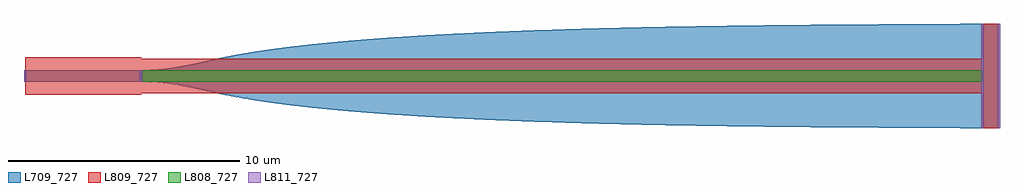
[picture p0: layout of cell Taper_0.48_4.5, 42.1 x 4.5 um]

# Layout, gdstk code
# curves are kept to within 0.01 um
from math import pi, radians
import gdstk
lib = gdstk.Library(unit=1e-6, precision=1e-09)
def R(c, l, rs):  # rectangles x0, y0, x1, y1
    for r in rs: c.add(gdstk.rectangle(r[:2], r[2:], *l))
def P(c, l, *ps):  # polygons
    for p in ps: c.add(gdstk.Polygon(p, *l))
L709_727 = (709, 727)
L808_727 = (808, 727)
L809_727 = (809, 727)
L811_727 = (811, 727)

wg_taper_3 = lib.new_cell('WG_Taper$3')
P(wg_taper_3, L709_727, [(-0.24,0),(-0.25,5),(0.25,5),(0.24,0)])
R(wg_taper_3, L809_727, [(-0.8,0,0.8,5)])
wg_taper_3.add(gdstk.FlexPath([(0,0.05),(0,-0.05)], 0.48, ends="flush", simple_path=True, layer=811, datatype=727))  # L811_727
wg_taper_3.add(gdstk.FlexPath([(0,4.95),(0,5.05)], 0.5, ends="flush", simple_path=True, layer=811, datatype=727))  # L811_727
wg_taper_3.add(gdstk.Label('Lumerical_INTERCONNECT_library=AIMPhotonics', (-0.3,0), layer=809, texttype=727))
wg_taper_3.add(gdstk.Label('Component=WG_taper', (0,0), layer=809, texttype=727))
wg_taper_3.add(gdstk.Label('Spice_param:wg_length=5.000u wg_width1=0.480u wg_width2=0.5', (0.3,0), layer=809, texttype=727))
wg_taper_3.add(gdstk.Label('opt2', (0,-0.05), layer=811, texttype=727))
wg_taper_3.add(gdstk.Label('opt1', (0,4.95), layer=811, texttype=727))

wg_taper_5 = lib.new_cell('WG_Taper$5')
R(wg_taper_5, L709_727, [(-2.25,0,2.25,0.7)])
R(wg_taper_5, L809_727, [(-2.25,0,2.25,0.7)])
wg_taper_5.add(gdstk.FlexPath([(0,0.05),(0,-0.05)], 4.5, ends="flush", simple_path=True, layer=811, datatype=727))  # L811_727
wg_taper_5.add(gdstk.FlexPath([(0,0.65),(0,0.75)], 4.5, ends="flush", simple_path=True, layer=811, datatype=727))  # L811_727
wg_taper_5.add(gdstk.Label('Lumerical_INTERCONNECT_library=AIMPhotonics', (-0.3,0), layer=809, texttype=727))
wg_taper_5.add(gdstk.Label('Component=WG_taper', (0,0), layer=809, texttype=727))
wg_taper_5.add(gdstk.Label('Spice_param:wg_length=0.700u wg_width1=4.500u wg_width2=4.5', (0.3,0), layer=809, texttype=727))
wg_taper_5.add(gdstk.Label('opt2', (0,-0.05), layer=811, texttype=727))
wg_taper_5.add(gdstk.Label('opt1', (0,0.65), layer=811, texttype=727))

waveguide_197 = lib.new_cell('Waveguide$197')
R(waveguide_197, L709_727, [(5,-0.25,41.3,0.25)])
R(waveguide_197, L808_727, [(5,-0.25,41.3,0.25)])
R(waveguide_197, L809_727, [(5,-0.75,41.3,0.75)])
waveguide_197.add(gdstk.FlexPath([(5.05,0),(4.95,0)], 0.5, ends="flush", simple_path=True, layer=811, datatype=727))  # L811_727
waveguide_197.add(gdstk.FlexPath([(41.25,0),(41.35,0)], 0.5, ends="flush", simple_path=True, layer=811, datatype=727))  # L811_727
waveguide_197.add(gdstk.Label('Lumerical_INTERCONNECT_library=Design Kits/APSUNY', (5,0), layer=809, texttype=727))
waveguide_197.add(gdstk.Label('Component=ap_suny_cl_band_waveguide_si', (5,0.5), layer=809, texttype=727))
waveguide_197.add(gdstk.Label('Spice_param:wg_length=36.300u wg_width=0.500u points="[[5.0,0.0],[41.3,0.0]]" radius=5.0', (5,-0.5), layer=809, texttype=727))
waveguide_197.add(gdstk.Label('pin1', (5,0), layer=811, texttype=727))
waveguide_197.add(gdstk.Label('pin2', (41.3,0), layer=811, texttype=727))

taper_0_48_4_5 = lib.new_cell('Taper_0.48_4.5')
P(taper_0_48_4_5, L709_727, [(41.3,-2.25),(31.899,-2.18),(25.803,-2.076),(22.737,-1.99),(20.425,-1.904),(17.834,-1.779),(15.813,-1.654),(13.432,-1.464),(12.186,-1.339),(11.128,-1.214),(10.135,-1.076),(9.099,-0.904),(8.27,-0.74),(7.231,-0.51),(6.436,-0.363),(5.744,-0.28),(5,-0.25),(5,0.25),(5.744,0.28),(6.436,0.363),(7.167,0.497),(8.456,0.779),(9.437,0.964),(10.399,1.115),(11.658,1.279),(12.94,1.417),(14.329,1.542),(16.004,1.667),(17.834,1.779),(21.974,1.964),(26.97,2.102),(33.095,2.193),(41.3,2.25)])
taper_0_48_4_5.add(gdstk.Reference(wg_taper_3, (0,0), rotation=3*pi/2))
taper_0_48_4_5.add(gdstk.Reference(wg_taper_5, (41.3,0), rotation=3*pi/2))
taper_0_48_4_5.add(gdstk.Reference(waveguide_197, (0,0)))

lib.write_gds('Taper_0.48_4.5.gds')
